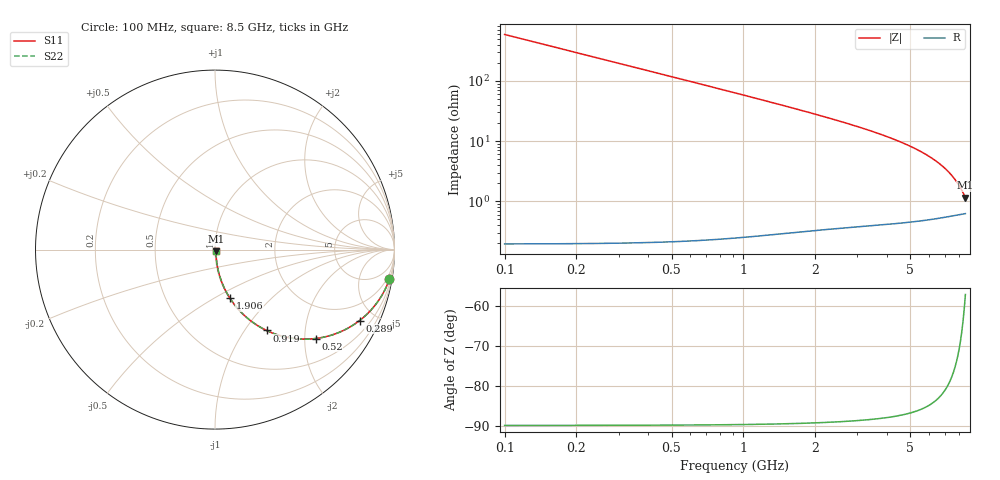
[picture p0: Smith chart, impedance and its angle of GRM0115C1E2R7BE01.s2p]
!Murata Part Number: GRM0115C1E2R7BE01
!These Parameters are Measured in Series Mode Connection
!Data Generated on Mar 30, 2021
!  o--ll--o
!Port1  Port2
!  o------o
!Operation Temp=25[degC], DC Bias Voltage=0[V]
!Freq. Start=100[MHz] Stop=9[GHz] 401[Steps]
# Hz S RI R 50
!Freq.(Hz) S11(Real) S11(Imag) S21(Real) S21(Imag) S12(Real) S12(Imag) S22(Real) S22(Imag)
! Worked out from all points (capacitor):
!   401 points, 100 MHz to 8.5 GHz, reference 50 ohm
!   read as one part in series: C = 2.7 pF near 142 MHz
!   lowest |Z| = 1.15 ohm at 8.5 GHz (marker M1)
!   S11 on the Smith chart (normalised r, x): 100 MHz: 1, -12; 289 MHz: 1.00, -4.07; 520 MHz: 1.00, -2.26; 919 MHz: 1.00, -1.27; 1.906 GHz: 1.01, -0.59; 8.5 GHz: 1.01, -0.02
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1e8  0.972 -0.1649  0.028 0.1649  0.028 0.1649  0.972 -0.1649
1.42e8  0.945 -0.2277  0.055 0.2277  0.055 0.2277  0.945 -0.2277
1.63e8  0.9288 -0.2569  0.0712 0.2569  0.0712 0.2569  0.9288 -0.2569
2.05e8  0.8918 -0.3103  0.1082 0.3103  0.1082 0.3103  0.8918 -0.3103
2.89e8  0.8056 -0.3952  0.1944 0.3952  0.1944 0.3952  0.8056 -0.3952
3.94e8  0.69 -0.4618  0.31 0.4618  0.31 0.4618  0.69 -0.4618
5.2e8  0.5604 -0.4954  0.4396 0.4954  0.4396 0.4954  0.5604 -0.4954
7.09e8  0.4056 -0.4896  0.5944 0.4896  0.5944 0.4896  0.4056 -0.4896
9.19e8  0.2875 -0.4507  0.7125 0.4507  0.7125 0.4507  0.2875 -0.4507
1.192e9  0.1918 -0.391  0.8082 0.391  0.8082 0.391  0.1918 -0.391
1.507e9  0.1278 -0.33  0.8722 0.33  0.8722 0.33  0.1278 -0.33
1.906e9  0.0824 -0.2696  0.9176 0.2696  0.9176 0.2696  0.0824 -0.2696
2.368e9  0.0537 -0.218  0.9463 0.218  0.9463 0.218  0.0537 -0.218
2.914e9  0.035 -0.1738  0.965 0.1738  0.965 0.1738  0.035 -0.1738
4.3e9  0.0152 -0.1039  0.9848 0.1039  0.9848 0.1039  0.0152 -0.1039
5.707e9  0.0086 -0.0615  0.9914 0.0615  0.9914 0.0615  0.0086 -0.0615
6.484e9  0.00711 -0.0441  0.9929 0.0441  0.9929 0.0441  0.00711 -0.0441
7.114e9  0.0065 -0.0319  0.9935 0.0319  0.9935 0.0319  0.0065 -0.0319
7.513e9  0.00631 -0.025  0.9937 0.025  0.9937 0.025  0.00631 -0.025
7.849e9  0.00625 -0.0194  0.9938 0.0194  0.9938 0.0194  0.00625 -0.0194
8.143e9  0.00625 -0.0148  0.9938 0.0148  0.9938 0.0148  0.00625 -0.0148
8.5e9  0.0063 -0.00955  0.9937 0.00955  0.9937 0.00955  0.0063 -0.00955
